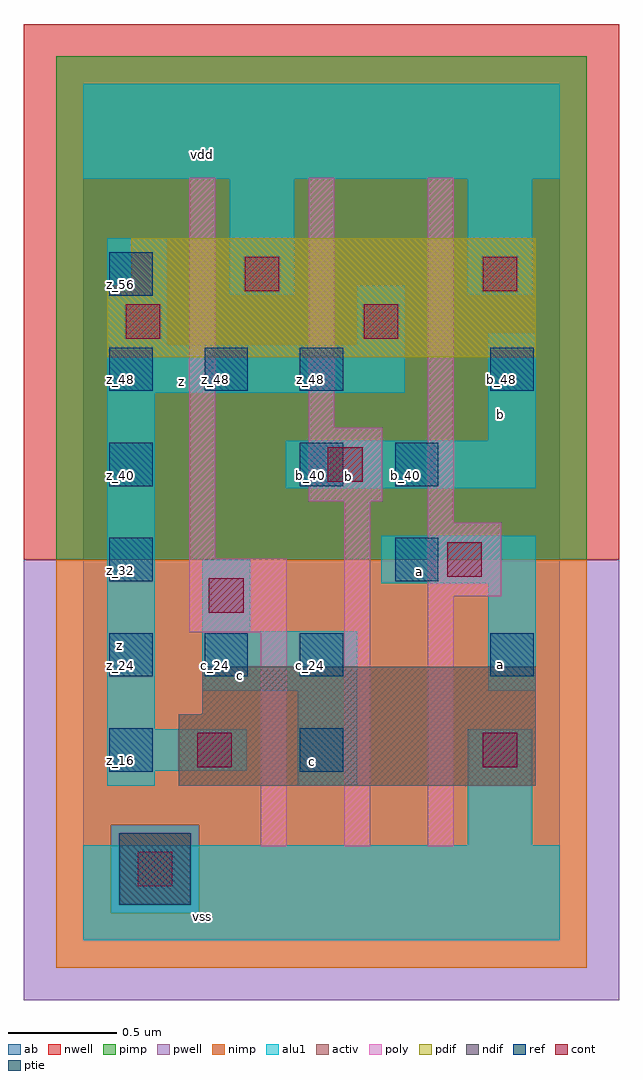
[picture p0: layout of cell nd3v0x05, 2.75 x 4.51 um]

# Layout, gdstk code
import gdstk
lib = gdstk.Library(unit=1e-6, precision=2.5e-09)
def R(c, l, rs):  # rectangles x0, y0, x1, y1
    for r in rs: c.add(gdstk.rectangle(r[:2], r[2:], *l))
def A(c, l, x, y, w, h, nx, ny, dx, dy):  # array of equal rectangles
    R(c, l, [(x+i*dx, y+j*dy, x+i*dx+w, y+j*dy+h) for i in range(nx) for j in range(ny)])
ndif = (3, 0)
pdif = (4, 0)
ptie = (6, 0)
ref = (24, 0)
cont = (25, 0)
pwell = (41, 0)
nwell = (42, 0)
activ = (43, 0)
pimp = (44, 0)
nimp = (45, 0)
poly = (46, 0)
alu1 = (49, 0)
ab = (63, 0)

nd3v0x05 = lib.new_cell('nd3v0x05')
R(nd3v0x05, ndif, [(0.44,0.715,2.09,1.045), (0.55,1.045,2.09,1.265)])
R(nd3v0x05, pdif, [(0.11,2.695,2.09,3.025), (0.22,3.025,2.09,3.245)])
R(nd3v0x05, ptie, [(0.165,0.165,0.495,0.495)])
A(nd3v0x05, ref, 0.12, 1.22, 0.2, 0.2, 3, 2, 0.44, 1.32)
R(nd3v0x05, ref, [(0.12,0.78,0.32,0.98), (1,0.78,1.2,0.98), (1.88,1.22,2.08,1.42), (0.12,1.66,0.32,1.86), (1.44,1.66,1.64,1.86), (0.12,2.1,0.32,2.3), (1,2.1,1.2,2.3), (1.44,2.1,1.64,2.3), (1.88,2.54,2.08,2.74), (0.12,2.98,0.32,3.18)])
R(nd3v0x05, cont, [(0.25,0.25,0.41,0.41), (0.525,0.8,0.685,0.96), (1.845,0.8,2.005,0.96), (0.58,1.515,0.74,1.675), (1.68,1.68,1.84,1.84), (1.13,2.12,1.29,2.28), (0.195,2.78,0.355,2.94), (1.295,2.78,1.455,2.94), (0.745,3,0.905,3.16), (1.845,3,2.005,3.16)])
R(nd3v0x05, pwell, [(-0.275,-0.275,2.475,1.76)])
R(nd3v0x05, nwell, [(-0.275,1.76,2.475,4.235)])
R(nd3v0x05, activ, [(0.165,0.165,0.495,0.495), (0.44,0.715,2.09,1.045), (0.55,1.045,2.09,1.265), (0.11,2.695,2.09,3.025), (0.22,3.025,2.09,3.245)])
R(nd3v0x05, pimp, [(0.125,0.125,0.535,0.535), (-0.125,1.76,2.325,4.085)])
R(nd3v0x05, nimp, [(-0.125,-0.125,2.325,0.125), (-0.125,0.125,0.125,0.535), (0.535,0.125,2.325,0.535), (-0.125,0.535,2.325,1.76)])
R(nd3v0x05, poly, [(0.82,0.435,0.94,1.425), (1.205,0.435,1.325,2.03), (1.59,0.435,1.71,1.59), (0.49,1.425,0.94,1.765), (1.59,1.59,1.93,1.93), (0.49,1.765,0.61,3.525), (1.59,1.93,1.71,3.525), (1.04,2.03,1.38,2.37), (1.04,2.37,1.16,3.525)])
R(nd3v0x05, alu1, [(0,0,2.2,0.44), (1.775,0.44,2.075,0.975), (0.11,0.715,0.33,0.785), (0.99,0.715,1.265,1.155), (0.11,0.785,0.755,0.975), (0.11,0.975,0.33,2.53), (0.55,1.155,1.265,1.43), (1.87,1.155,2.09,1.65), (0.55,1.43,0.77,1.76), (1.375,1.65,2.09,1.87), (0.935,2.09,2.09,2.31), (1.87,2.31,2.09,2.805), (0.11,2.53,1.485,2.75), (0.11,2.75,0.385,3.245), (1.265,2.75,1.485,3.025), (0.675,2.985,0.975,3.52), (1.775,2.985,2.075,3.52), (0,3.52,2.2,3.96)])
R(nd3v0x05, ab, [(0,0,2.2,3.96)])
nd3v0x05.add(gdstk.Label('vss', (0.55,0.11), layer=49, texttype=0))
nd3v0x05.add(gdstk.Label('c', (1.0575,0.825), layer=49, texttype=0))
nd3v0x05.add(gdstk.Label('a', (1.925,1.2775), layer=49, texttype=0))
nd3v0x05.add(gdstk.Label('c', (0.7275,1.2225), layer=49, texttype=0))
nd3v0x05.add(gdstk.Label('a', (1.5525,1.705), layer=49, texttype=0))
nd3v0x05.add(gdstk.Label('b', (1.2225,2.145), layer=49, texttype=0))
nd3v0x05.add(gdstk.Label('b', (1.925,2.4325), layer=49, texttype=0))
nd3v0x05.add(gdstk.Label('z', (0.165,1.3625), layer=49, texttype=0))
nd3v0x05.add(gdstk.Label('z', (0.4525,2.585), layer=49, texttype=0))
nd3v0x05.add(gdstk.Label('vdd', (0.55,3.63), layer=49, texttype=0))
nd3v0x05.add(gdstk.Label('z_56', (0.17,3.03), layer=24, texttype=0))
nd3v0x05.add(gdstk.Label('z_48', (0.17,2.59), layer=24, texttype=0))
nd3v0x05.add(gdstk.Label('z_40', (0.17,2.15), layer=24, texttype=0))
nd3v0x05.add(gdstk.Label('z_32', (0.17,1.71), layer=24, texttype=0))
nd3v0x05.add(gdstk.Label('z_24', (0.17,1.27), layer=24, texttype=0))
nd3v0x05.add(gdstk.Label('z_16', (0.17,0.83), layer=24, texttype=0))
nd3v0x05.add(gdstk.Label('b_48', (1.93,2.59), layer=24, texttype=0))
nd3v0x05.add(gdstk.Label('a_24', (1.93,1.27), layer=24, texttype=0))
nd3v0x05.add(gdstk.Label('b_40', (1.49,2.15), layer=24, texttype=0))
nd3v0x05.add(gdstk.Label('a_32', (1.49,1.71), layer=24, texttype=0))
nd3v0x05.add(gdstk.Label('z_48', (1.05,2.59), layer=24, texttype=0))
nd3v0x05.add(gdstk.Label('b_40', (1.05,2.15), layer=24, texttype=0))
nd3v0x05.add(gdstk.Label('c_24', (1.05,1.27), layer=24, texttype=0))
nd3v0x05.add(gdstk.Label('c_16', (1.05,0.83), layer=24, texttype=0))
nd3v0x05.add(gdstk.Label('z_48', (0.61,2.59), layer=24, texttype=0))
nd3v0x05.add(gdstk.Label('c_24', (0.61,1.27), layer=24, texttype=0))

lib.write_gds('nd3v0x05.gds')
